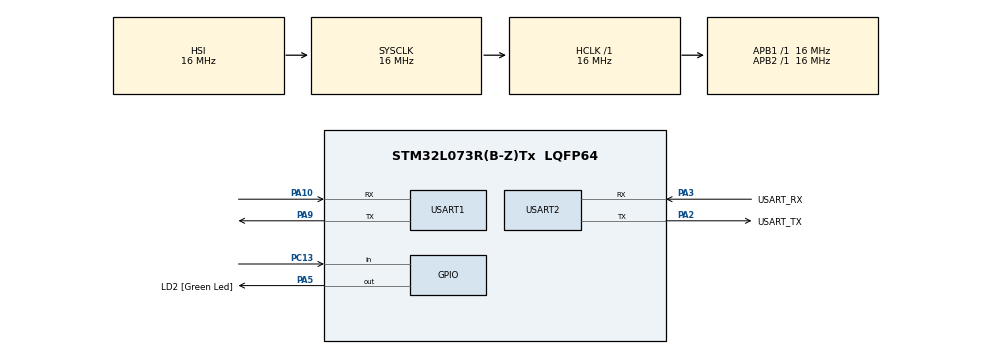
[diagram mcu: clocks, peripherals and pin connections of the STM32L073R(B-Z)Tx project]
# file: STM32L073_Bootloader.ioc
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CRC.DefaultPolynomialUse=DEFAULT_POLYNOMIAL_ENABLE
Mcu.Family=STM32L0
Mcu.Name=STM32L073R(B-Z)Tx
Mcu.Package=LQFP64
PA10.Mode=Asynchronous
PA10.Signal=USART1_RX
PA13.GPIO_Label=TMS
PA13.Mode=Serial_Wire
PA13.Signal=SYS_SWDIO
PA14.GPIO_Label=TCK
PA14.Mode=Serial_Wire
PA14.Signal=SYS_SWCLK
PA2.GPIO_Label=USART_TX
PA2.Mode=Asynchronous
PA2.Signal=USART2_TX
PA3.GPIO_Label=USART_RX
PA3.Mode=Asynchronous
PA3.Signal=USART2_RX
PA5.GPIO_Label=LD2 [Green Led]
PA5.Signal=GPIO_Output
PA9.Mode=Asynchronous
PA9.Signal=USART1_TX
PC13.Signal=GPIO_Input
PC14-OSC32_IN.Signal=RCC_OSC32_IN
PC15-OSC32_OUT.Signal=RCC_OSC32_OUT
PH0-OSC_IN.GPIO_Label=MCO
PH0-OSC_IN.Signal=RCC_OSC_IN
ProjectManager.HeapSize=0x200
ProjectManager.StackSize=0x400
ProjectManager.TargetToolchain=STM32CubeIDE
RCC.AHBFreq_Value=16000000
RCC.APB1Freq_Value=16000000
RCC.APB1TimFreq_Value=16000000
RCC.APB2Freq_Value=16000000
RCC.APB2TimFreq_Value=16000000
RCC.HCLKFreq_Value=16000000
RCC.HSE_VALUE=8000000
RCC.HSI16_VALUE=16000000
RCC.HSI48_VALUE=48000000
RCC.HSI_VALUE=16000000
RCC.LSEState=RCC_LSE_ON
RCC.LSE_VALUE=32768
RCC.MSI_VALUE=2097000
RCC.SYSCLKFreq_VALUE=16000000
RCC.SYSCLKSource=RCC_SYSCLKSOURCE_HSI
RCC.VCOOutputFreq_Value=48000000
USART1.VirtualMode-Asynchronous=VM_ASYNC
USART2.VirtualMode-Asynchronous=VM_ASYNC
VP_CRC_VS_CRC.Mode=CRC_Activate
board=NUCLEO-L073RZ

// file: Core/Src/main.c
/* USER CODE BEGIN Header */
/**
  ******************************************************************************
  * @file           : main.c
  * @brief          : Main program body
  ******************************************************************************
  * @attention
  *
  * Copyright (c) 2024 STMicroelectronics.
  * All rights reserved.
  *
  * This software is licensed under terms that can be found in the LICENSE file
  * in the root directory of this software component.
  * If no LICENSE file comes with this software, it is provided AS-IS.
  *
  ******************************************************************************
  */
/* USER CODE END Header */

#include "main.h"

/* USER CODE BEGIN Includes */
#include <stdio.h>
#include "debug.h"
#include "string.h"
#include <ota_update.h>
/* USER CODE END Includes */

/* USER CODE BEGIN PTD */
#define B1_GPIO_Port   GPIOC
#define B1_Pin         GPIO_PIN_13
/* USER CODE END PTD */

CRC_HandleTypeDef hcrc;

UART_HandleTypeDef huart1;
UART_HandleTypeDef huart2;

/* USER CODE BEGIN PV */
ota_config_t *ota_config  = (ota_config_t *)CONFIG_START_ADDRESS;
ota_config_t ota_config_temp = {0};
/* USER CODE END PV */

void SystemClock_Config(void);
static void MX_GPIO_Init(void);
static void MX_USART2_UART_Init(void);
static void MX_USART1_UART_Init(void);
static void MX_CRC_Init(void);
/* USER CODE BEGIN PFP */
void jump_to_app(void);

/* USER CODE END PFP */

/* USER CODE BEGIN 0 */
char log_buff[32];
static const char *TAG = "BL";
/* USER CODE END 0 */

int main(void)
{

  /* MCU Configuration--------------------------------------------------------*/

  /* Reset of all peripherals, Initializes the Flash interface and the Systick. */
  HAL_Init();

  /* Configure the system clock */
  SystemClock_Config();

  /* Initialize all configured peripherals */
  MX_GPIO_Init();
  MX_USART2_UART_Init();
  MX_USART1_UART_Init();
  MX_CRC_Init();
  /* USER CODE BEGIN 2 */
  DEBUG_LOG("BL","Bootloader v0.5");
  DEBUG_LOG("BL","Press user button for firmware upgrade");
  uint8_t btn_state = HAL_GPIO_ReadPin(B1_GPIO_Port, B1_Pin);
  uint32_t last_tick = HAL_GetTick();

  memcpy(&ota_config_temp, ota_config, sizeof(ota_config_t));

  //Erasse_Flash(ERASE_CONFIG_AREA);
  //write_to_config_flash(&ota_config_temp);

  while((HAL_GetTick()-last_tick) < 3000)
  {
	  btn_state = HAL_GPIO_ReadPin(B1_GPIO_Port, B1_Pin);
	  if(btn_state == 0)
	  {
		  break;
	  }
	  HAL_Delay(100);
  }

  HAL_Delay(100);
  btn_state = HAL_GPIO_ReadPin(B1_GPIO_Port, B1_Pin);

  if(btn_state == 0)
  {
	  // UART Reception
	  DEBUG_LOG("BL","Process");
	  if(download_and_upgrade_fw()!= 0)
	  {
		  DEBUG_LOG("BL","FW Upgrade Failed , System will reset in 2 seconds");

	  }else{
		  DEBUG_LOG("BL","FW Upgrade Success, System will reset in 2 seconds");
	  }
	  HAL_Delay(2000);
	  HAL_NVIC_SystemReset();
  }
  memcpy(&ota_config_temp, ota_config, sizeof(ota_config_t)); // Re-verify
  if(ota_config_temp.flag == 1 )
  {
	  load_new_app(DL_SLOT_0_START_ADDR, ota_config_temp.dl_size);
	  ota_config_temp.flag = 0;
	  ota_config_temp.fw_crc = ota_config_temp.dl_crc;
	  ota_config_temp.fw_size = ota_config_temp.dl_size;
	  Erasse_Flash(ERASE_CONFIG_AREA);
	  write_to_config_flash(&ota_config_temp);
	  DEBUG_LOG("BL","New Firmware load Success");
  }

 // app area crc check
   uint32_t app_crc = calculate_crc32((uint32_t*) APP_START_ADDR,ota_config_temp.fw_size);
   if(app_crc == ota_config_temp.fw_crc)
   {
	   DEBUG_LOG("BL","Application OK");
	   jump_to_app();
   }else
   {
	   DEBUG_LOG("BL","Application Verification Failed");
   }
  /* USER CODE END 2 */

  /* Infinite loop */
  while (1)
  {

  }
}

void SystemClock_Config(void)
{
  RCC_OscInitTypeDef RCC_OscInitStruct = {0};
  RCC_ClkInitTypeDef RCC_ClkInitStruct = {0};
  RCC_PeriphCLKInitTypeDef PeriphClkInit = {0};

  /** Configure the main internal regulator output voltage
  */
  __HAL_PWR_VOLTAGESCALING_CONFIG(PWR_REGULATOR_VOLTAGE_SCALE1);

  /** Initializes the RCC Oscillators according to the specified parameters
  * in the RCC_OscInitTypeDef structure.
  */
  RCC_OscInitStruct.OscillatorType = RCC_OSCILLATORTYPE_HSI;
  RCC_OscInitStruct.HSIState = RCC_HSI_ON;
  RCC_OscInitStruct.HSICalibrationValue = RCC_HSICALIBRATION_DEFAULT;
  RCC_OscInitStruct.PLL.PLLState = RCC_PLL_NONE;
  if (HAL_RCC_OscConfig(&RCC_OscInitStruct) != HAL_OK)
  {
    Error_Handler();
  }

  /** Initializes the CPU, AHB and APB buses clocks
  */
  RCC_ClkInitStruct.ClockType = RCC_CLOCKTYPE_HCLK|RCC_CLOCKTYPE_SYSCLK
                              |RCC_CLOCKTYPE_PCLK1|RCC_CLOCKTYPE_PCLK2;
  RCC_ClkInitStruct.SYSCLKSource = RCC_SYSCLKSOURCE_HSI;
  RCC_ClkInitStruct.AHBCLKDivider = RCC_SYSCLK_DIV1;
  RCC_ClkInitStruct.APB1CLKDivider = RCC_HCLK_DIV1;
  RCC_ClkInitStruct.APB2CLKDivider = RCC_HCLK_DIV1;

  if (HAL_RCC_ClockConfig(&RCC_ClkInitStruct, FLASH_LATENCY_0) != HAL_OK)
  {
    Error_Handler();
  }
  PeriphClkInit.PeriphClockSelection = RCC_PERIPHCLK_USART1|RCC_PERIPHCLK_USART2;
  PeriphClkInit.Usart1ClockSelection = RCC_USART1CLKSOURCE_PCLK2;
  PeriphClkInit.Usart2ClockSelection = RCC_USART2CLKSOURCE_PCLK1;
  if (HAL_RCCEx_PeriphCLKConfig(&PeriphClkInit) != HAL_OK)
  {
    Error_Handler();
  }
}

static void MX_CRC_Init(void)
{

  hcrc.Instance = CRC;
  hcrc.Init.DefaultPolynomialUse = DEFAULT_POLYNOMIAL_ENABLE;
  hcrc.Init.DefaultInitValueUse = DEFAULT_INIT_VALUE_ENABLE;
  hcrc.Init.InputDataInversionMode = CRC_INPUTDATA_INVERSION_NONE;
  hcrc.Init.OutputDataInversionMode = CRC_OUTPUTDATA_INVERSION_DISABLE;
  hcrc.InputDataFormat = CRC_INPUTDATA_FORMAT_WORDS;
  if (HAL_CRC_Init(&hcrc) != HAL_OK)
  {
    Error_Handler();
  }

}

static void MX_USART1_UART_Init(void)
{

  huart1.Instance = USART1;
  huart1.Init.BaudRate = 115200;
  huart1.Init.WordLength = UART_WORDLENGTH_8B;
  huart1.Init.StopBits = UART_STOPBITS_1;
  huart1.Init.Parity = UART_PARITY_NONE;
  huart1.Init.Mode = UART_MODE_TX_RX;
  huart1.Init.HwFlowCtl = UART_HWCONTROL_NONE;
  huart1.Init.OverSampling = UART_OVERSAMPLING_16;
  huart1.Init.OneBitSampling = UART_ONE_BIT_SAMPLE_DISABLE;
  huart1.AdvancedInit.AdvFeatureInit = UART_ADVFEATURE_NO_INIT;
  if (HAL_UART_Init(&huart1) != HAL_OK)
  {
    Error_Handler();
  }

}

static void MX_USART2_UART_Init(void)
{

  huart2.Instance = USART2;
  huart2.Init.BaudRate = 115200;
  huart2.Init.WordLength = UART_WORDLENGTH_8B;
  huart2.Init.StopBits = UART_STOPBITS_1;
  huart2.Init.Parity = UART_PARITY_NONE;
  huart2.Init.Mode = UART_MODE_TX_RX;
  huart2.Init.HwFlowCtl = UART_HWCONTROL_NONE;
  huart2.Init.OverSampling = UART_OVERSAMPLING_16;
  huart2.Init.OneBitSampling = UART_ONE_BIT_SAMPLE_DISABLE;
  huart2.AdvancedInit.AdvFeatureInit = UART_ADVFEATURE_NO_INIT;
  if (HAL_UART_Init(&huart2) != HAL_OK)
  {
    Error_Handler();
  }

}

static void MX_GPIO_Init(void)
{
  GPIO_InitTypeDef GPIO_InitStruct = {0};

  /* GPIO Ports Clock Enable */
  __HAL_RCC_GPIOC_CLK_ENABLE();
  __HAL_RCC_GPIOH_CLK_ENABLE();
  __HAL_RCC_GPIOA_CLK_ENABLE();

  /*Configure GPIO pin Output Level */
  HAL_GPIO_WritePin(LD2_GPIO_Port, LD2_Pin, GPIO_PIN_RESET);

  /*Configure GPIO pin : PC13 */
  GPIO_InitStruct.Pin = GPIO_PIN_13;
  GPIO_InitStruct.Mode = GPIO_MODE_INPUT;
  GPIO_InitStruct.Pull = GPIO_NOPULL;
  HAL_GPIO_Init(GPIOC, &GPIO_InitStruct);

  /*Configure GPIO pin : LD2_Pin */
  GPIO_InitStruct.Pin = LD2_Pin;
  GPIO_InitStruct.Mode = GPIO_MODE_OUTPUT_PP;
  GPIO_InitStruct.Pull = GPIO_NOPULL;
  GPIO_InitStruct.Speed = GPIO_SPEED_FREQ_LOW;
  HAL_GPIO_Init(LD2_GPIO_Port, &GPIO_InitStruct);

}

/* USER CODE BEGIN 4 */
void jump_to_app(void)
{
	void (*app_reset_handler)(void);

	SysTick->LOAD = 0;
	SysTick->CTRL = 0;
	SysTick->VAL = 0;
	// get stack pointer of application
	// required if reset handelr in app is not setting sp
//	uint32_t sp_val = (*(volatile uint32_t *)(APP_START_ADDR));
//	__set_MSP(sp_val);
	uint32_t reset_handler_address = (*(volatile uint32_t *)(APP_START_ADDR + 4));
	app_reset_handler = (void *)reset_handler_address;
	app_reset_handler();
}
#if 0
uint32_t calculate_crc32(uint8_t *buf, uint32_t len)
{
    uint32_t POLYNOMIAL = 0x04C11DB7;
    uint32_t crc = 0xFFFFFFFF;

    for(uint32_t i = 0;i< len; i++)
    {
        crc ^= buf[i];
        for(uint8_t j = 0; j<8; j++)
        {
            if(crc & 0x01)
                crc = (crc >> 1) ^POLYNOMIAL;
            else
                crc = crc >> 1;
        }
   }
	sprintf(log_buff,"crc: 0x%x",crc);
	DEBUG_LOG(TAG, log_buff);
	return (crc);
}
#else

uint32_t calculate_crc32(uint8_t *pbuff, uint32_t len)
{
	uint32_t crc = 0xFF;
	__HAL_CRC_DR_RESET(&hcrc);
	for(uint32_t i = 0; i < len; i++)
	{
		uint32_t data = pbuff[i];
		crc = HAL_CRC_Accumulate(&hcrc, &data, 1);
	}
	sprintf(log_buff,"crc: 0x%lx",crc);
	DEBUG_LOG(TAG, log_buff);
	return crc;
}
#endif
/* USER CODE END 4 */

void Error_Handler(void)
{
  __disable_irq();
  while (1)
  {
  }
}
